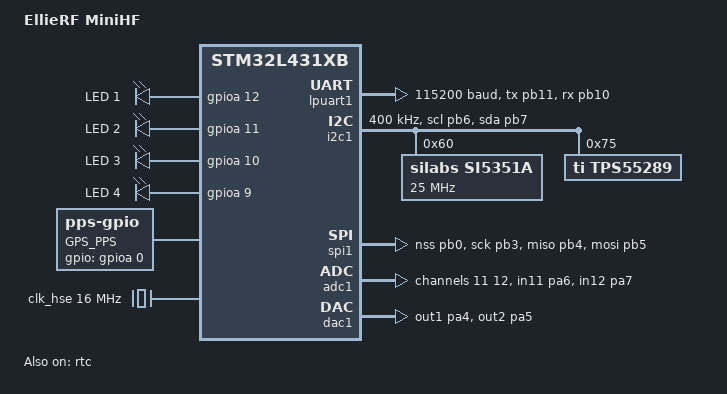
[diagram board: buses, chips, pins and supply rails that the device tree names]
/dts-v1/;
#include <st/l4/stm32l431Xb.dtsi>
#include <st/l4/stm32l431c(b-c)ux-pinctrl.dtsi>

/ {
	model = "EllieRF MiniHF";
	compatible = "ellierf,minihf", "st,stm32l431xb";

	chosen {
		zephyr,console = &lpuart1;
		zephyr,shell-uart = &lpuart1;
		zephyr,sram = &sram0;
		zephyr,flash = &flash0;
	};

	leds {
		compatible = "gpio-leds";

		led1: led_1 {
			gpios = <&gpioa 12 GPIO_ACTIVE_HIGH>;
			label = "LED 1";
		};

		led2: led_2 {
			gpios = <&gpioa 11 GPIO_ACTIVE_HIGH>;
			label = "LED 2";
		};

		led3: led_3 {
			gpios = <&gpioa 10 GPIO_ACTIVE_HIGH>;
			label = "LED 3";
		};

		led4: led_4 {
			gpios = <&gpioa 9 GPIO_ACTIVE_HIGH>;
			label = "LED 4";
		};
	};

	pps0: pps {
        compatible = "pps-gpio";
        gpios = <&gpioa 0 GPIO_ACTIVE_HIGH>;
        label = "GPS_PPS";
    };
};

&clk_lse {
    status = "okay";
};

&clk_lsi {
	status = "disabled"; 
};

&clk_hse {
    clock-frequency = <DT_FREQ_M(16)>;
    status = "okay";
};

&clk_hsi {
    status = "disabled"; 
};

&pll {
    div-m = <1>;
    mul-n = <20>;
    div-p = <7>;
    div-q = <2>;
    div-r = <4>;
    clocks = <&clk_hse>;
    status = "okay";
};

&rcc {
	clocks = <&pll>;
	clock-frequency = <DT_FREQ_M(80)>;
	ahb-prescaler = <1>;
	apb1-prescaler = <1>;
	apb2-prescaler = <1>;
};

&lpuart1 {
	pinctrl-0 = <&lpuart1_tx_pb11 &lpuart1_rx_pb10>;
	pinctrl-names = "default";
	current-speed = <115200>;
	status = "okay";
};

&i2c1 {
	pinctrl-0 = <&i2c1_scl_pb6 &i2c1_sda_pb7>;
	pinctrl-names = "default";
	clock-frequency = <I2C_BITRATE_FAST>;
	status = "okay";

	si5351a: si5351a@60 {
		compatible = "silabs,si5351a";
		reg = <0x60>;
		clock-frequency = <25000000>;
		crystal-load-capacitance = <10>;
		status = "okay";
	};

	tps55289: tps55289@75 {
		compatible = "ti,tps55289";
		reg = <0x75>;
		status = "okay";

		ti,external-feedback;
        ti,feedback-resistors-ohms = <274000 100000>;
        ti,rsense-mohm = <0>;

		regulator-name = "V_PA";
        regulator-min-microvolt = <5000000>;
        regulator-max-microvolt = <18000000>;
	};
};

&spi1 {
	pinctrl-0 = <&spi1_nss_pb0 &spi1_sck_pb3
		     &spi1_miso_pb4 &spi1_mosi_pb5>;
	pinctrl-names = "default";
	status = "okay";
};

&rtc {
    clocks = <&rcc STM32_CLOCK(APB1, 28)>,
             <&rcc STM32_SRC_LSE RTC_SEL(1)>;
    status = "okay";
};

&adc1 {
    pinctrl-0 = <&adc1_in11_pa6 &adc1_in12_pa7>;
    pinctrl-names = "default";
    st,adc-clock-source = "SYNC";
    st,adc-prescaler = <4>;
    status = "okay";

    #address-cells = <1>;
    #size-cells = <0>;

    channel@b {
        reg = <11>;
        zephyr,gain = "ADC_GAIN_1";
        zephyr,reference = "ADC_REF_INTERNAL";
        zephyr,acquisition-time = <ADC_ACQ_TIME_DEFAULT>;
        zephyr,resolution = <12>;
    };

    channel@c {
        reg = <12>;
        zephyr,gain = "ADC_GAIN_1";
        zephyr,reference = "ADC_REF_INTERNAL";
        zephyr,acquisition-time = <ADC_ACQ_TIME_DEFAULT>;
        zephyr,resolution = <12>;
    };
};

&dac1 {
    pinctrl-0 = <&dac1_out1_pa4 &dac1_out2_pa5>;
    pinctrl-names = "default";
    status = "okay";
};

&flash0 {
    partitions {
        compatible = "fixed-partitions";
        #address-cells = <1>;
        #size-cells = <1>;

        slot0_partition: partition@0 {
            label = "image-0";
            reg = <0x00000000 DT_SIZE_K(112)>;
        };


        storage_partition: partition@1c000 {
            label = "storage";
            reg = <0x0001c000 DT_SIZE_K(16)>;
        };
    };
};
